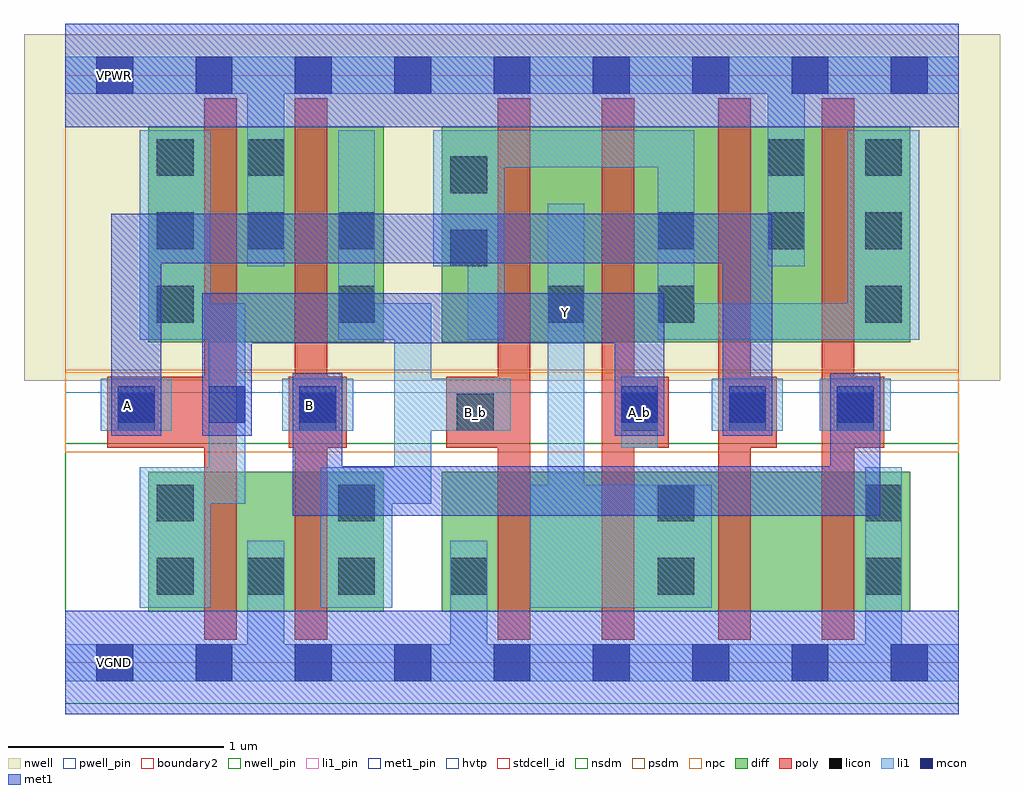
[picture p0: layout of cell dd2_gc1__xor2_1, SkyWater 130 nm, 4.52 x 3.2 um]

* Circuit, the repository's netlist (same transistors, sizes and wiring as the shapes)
.subckt dd2_gc1__xor2_1 A B VGND VNB VPB VPWR Y
X0 A_b A VGND VNB sky130_fd_pr__nfet_01v8 w=0.65 l=0.15
X1 A_b A VPWR VPB sky130_fd_pr__pfet_01v8_hvt w=1 l=0.15
X2 B_b B VGND VNB sky130_fd_pr__nfet_01v8 w=0.65 l=0.15
X3 B_b B VPWR VPB sky130_fd_pr__pfet_01v8_hvt w=1 l=0.15
X4 Y A n1 VNB sky130_fd_pr__nfet_01v8 w=0.65 l=0.15
X5 n1 B VGND VNB sky130_fd_pr__nfet_01v8 w=0.65 l=0.15
X6 Y A_b n2 VNB sky130_fd_pr__nfet_01v8 w=0.65 l=0.15
X7 n2 B_b VGND VNB sky130_fd_pr__nfet_01v8 w=0.65 l=0.15
X8 Y A_b p1 VPB sky130_fd_pr__pfet_01v8_hvt w=1 l=0.15
X9 Y B_b p1 VPB sky130_fd_pr__pfet_01v8_hvt w=1 l=0.15
X10 p1 A VPWR VPB sky130_fd_pr__pfet_01v8_hvt w=1 l=0.15
X11 p1 B VPWR VPB sky130_fd_pr__pfet_01v8_hvt w=1 l=0.15
.ends

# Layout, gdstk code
import gdstk
lib = gdstk.Library(unit=1e-6, precision=1e-09)
def R(c, l, rs):  # rectangles x0, y0, x1, y1
    for r in rs: c.add(gdstk.rectangle(r[:2], r[2:], *l))
def A(c, l, x, y, w, h, nx, ny, dx, dy):  # array of equal rectangles
    R(c, l, [(x+i*dx, y+j*dy, x+i*dx+w, y+j*dy+h) for i in range(nx) for j in range(ny)])
nwell_pin = (64, 16)
nwell = (64, 20)
diff = (65, 20)
poly = (66, 20)
licon = (66, 44)
li1_pin = (67, 16)
li1 = (67, 20)
mcon = (67, 44)
met1_pin = (68, 16)
met1 = (68, 20)
hvtp = (78, 44)
stdcell_id = (81, 4)
nsdm = (93, 44)
psdm = (94, 20)
npc = (95, 20)
pwell_pin = (122, 16)
boundary2 = (236, 0)

dd2_gc1__xor2_1 = lib.new_cell('dd2_gc1__xor2_1')
R(dd2_gc1__xor2_1, nwell_pin, [(0.145,2.635,0.315,2.805)])
R(dd2_gc1__xor2_1, nwell, [(-0.19,1.305,4.33,2.91)])
R(dd2_gc1__xor2_1, diff, [(0.385,0.235,1.475,0.885), (1.745,0.235,3.915,0.885), (0.385,1.485,1.475,2.485), (1.745,1.485,3.915,2.485)])
R(dd2_gc1__xor2_1, poly, [(0.645,0.105,0.795,2.615), (1.065,0.105,1.215,2.615), (2.005,0.105,2.155,2.615), (2.485,0.105,2.635,2.615), (3.025,0.105,3.175,2.615), (3.505,0.105,3.655,2.615), (0.195,0.995,0.795,1.325), (1.035,0.995,1.305,1.325), (1.765,0.995,2.155,1.325), (2.485,0.995,2.795,1.325), (3.025,0.995,3.295,1.325), (3.505,0.995,3.795,1.325)])
A(dd2_gc1__xor2_1, licon, 0.425, 0.315, 0.17, 0.17, 3, 2, 0.42, 1.6)
A(dd2_gc1__xor2_1, licon, 1.785, 0.315, 0.17, 0.17, 3, 1, 0.96, 0)
A(dd2_gc1__xor2_1, licon, 2.575, 1.075, 0.17, 0.17, 3, 1, 0.5, 0)
A(dd2_gc1__xor2_1, licon, 3.705, 1.575, 0.17, 0.17, 1, 3, 0, 0.34)
R(dd2_gc1__xor2_1, licon, [(0.425,0.655,0.595,0.825), (1.265,0.655,1.435,0.825), (2.745,0.655,2.915,0.825), (3.705,0.655,3.875,0.825), (0.245,1.075,0.415,1.245), (1.085,1.075,1.255,1.245), (1.815,1.075,1.985,1.245), (0.425,1.575,0.595,1.745), (1.265,1.575,1.435,1.745), (2.235,1.575,2.405,1.745), (2.745,1.575,2.915,1.745), (1.785,1.835,1.955,2.005), (2.745,1.915,2.915,2.085), (3.255,1.915,3.425,2.085), (1.785,2.175,1.955,2.345), (0.425,2.255,0.595,2.425), (0.845,2.255,1.015,2.425), (3.255,2.255,3.425,2.425)])
R(dd2_gc1__xor2_1, li1_pin, [(0.205,1.105,0.375,1.275), (1.045,1.105,1.215,1.275), (2.24,1.535,2.4,1.705)])
R(dd2_gc1__xor2_1, li1, [(0,-0.085,4.14,0.085), (0.845,-0.085,1.015,0.565), (1.785,-0.085,1.955,0.565), (3.705,-0.085,3.875,0.905), (0.345,0.255,0.675,0.905), (1.185,0.255,1.515,0.905), (2.155,0.255,2.995,0.825), (0.345,0.735,0.835,0.905), (1.185,0.735,1.695,0.905), (2.235,0.815,2.405,1.505), (0.665,0.895,0.835,1.505), (1.525,0.895,1.695,1.505), (2.575,0.995,2.745,1.325), (0.165,1.075,0.495,1.315), (1.005,1.075,1.335,1.315), (1.61,1.075,1.9,1.315), (1.735,1.075,2.065,1.315), (2.995,1.075,3.325,1.315), (3.495,1.075,3.825,1.315), (0.345,1.495,0.835,1.665), (0.345,1.495,0.675,2.465), (1.265,1.495,1.435,2.465), (1.265,1.495,1.695,1.665), (1.865,1.495,2.035,1.835), (2.235,1.495,2.405,2.125), (2.745,1.495,2.915,2.465), (2.745,1.495,3.955,1.665), (3.625,1.495,3.955,2.465), (0.845,1.835,1.015,2.805), (1.705,1.835,2.035,2.465), (3.255,1.835,3.425,2.805), (1.785,2.295,2.915,2.465), (0,2.635,4.14,2.805)])
A(dd2_gc1__xor2_1, mcon, 0.145, -0.085, 0.17, 0.17, 9, 2, 0.46, 2.72)
A(dd2_gc1__xor2_1, mcon, 0.245, 1.11, 0.17, 0.17, 3, 1, 0.42, 0)
A(dd2_gc1__xor2_1, mcon, 2.575, 1.11, 0.17, 0.17, 3, 1, 0.5, 0)
R(dd2_gc1__xor2_1, met1_pin, [(0.145,-0.085,0.315,0.085), (0.145,2.635,0.315,2.805)])
R(dd2_gc1__xor2_1, met1, [(0,-0.24,4.14,0.24), (1.055,0.68,1.285,1.34), (1.055,0.68,3.775,0.91), (3.545,0.68,3.775,1.34), (0.215,1.05,0.445,2.08), (0.635,1.05,0.865,1.71), (2.545,1.05,2.775,1.71), (3.045,1.05,3.275,2.08), (0.635,1.48,2.775,1.71), (0.215,1.85,3.275,2.08), (0,2.48,4.14,2.96)])
R(dd2_gc1__xor2_1, hvtp, [(0,1.25,4.14,2.72)])
R(dd2_gc1__xor2_1, stdcell_id, [(0,0,4.14,2.72)])
R(dd2_gc1__xor2_1, nsdm, [(0,-0.19,4.14,1.015)])
R(dd2_gc1__xor2_1, psdm, [(0,1.355,4.14,2.91)])
R(dd2_gc1__xor2_1, npc, [(0,0.975,4.14,1.345)])
R(dd2_gc1__xor2_1, pwell_pin, [(0.145,-0.085,0.315,0.085)])
R(dd2_gc1__xor2_1, boundary2, [(0,0,4.14,2.72)])
dd2_gc1__xor2_1.add(gdstk.Label('B_b', (1.9,1.16), layer=67, texttype=5))
dd2_gc1__xor2_1.add(gdstk.Label('A_b', (2.66,1.16), layer=67, texttype=5))
dd2_gc1__xor2_1.add(gdstk.Label('A', (0.29,1.19), layer=67, texttype=5))
dd2_gc1__xor2_1.add(gdstk.Label('B', (1.13,1.19), layer=67, texttype=5))
dd2_gc1__xor2_1.add(gdstk.Label('Y', (2.32,1.62), layer=67, texttype=5))
dd2_gc1__xor2_1.add(gdstk.Label('VGND', (0.23,0), layer=68, texttype=5))
dd2_gc1__xor2_1.add(gdstk.Label('VPWR', (0.23,2.72), layer=68, texttype=5))
dd2_gc1__xor2_1.add(gdstk.Label('VPB', (0.23,2.72), layer=64, texttype=5))
dd2_gc1__xor2_1.add(gdstk.Label('VNB', (0.23,0), layer=64, texttype=59))

lib.write_gds('dd2_gc1__xor2_1.gds')
